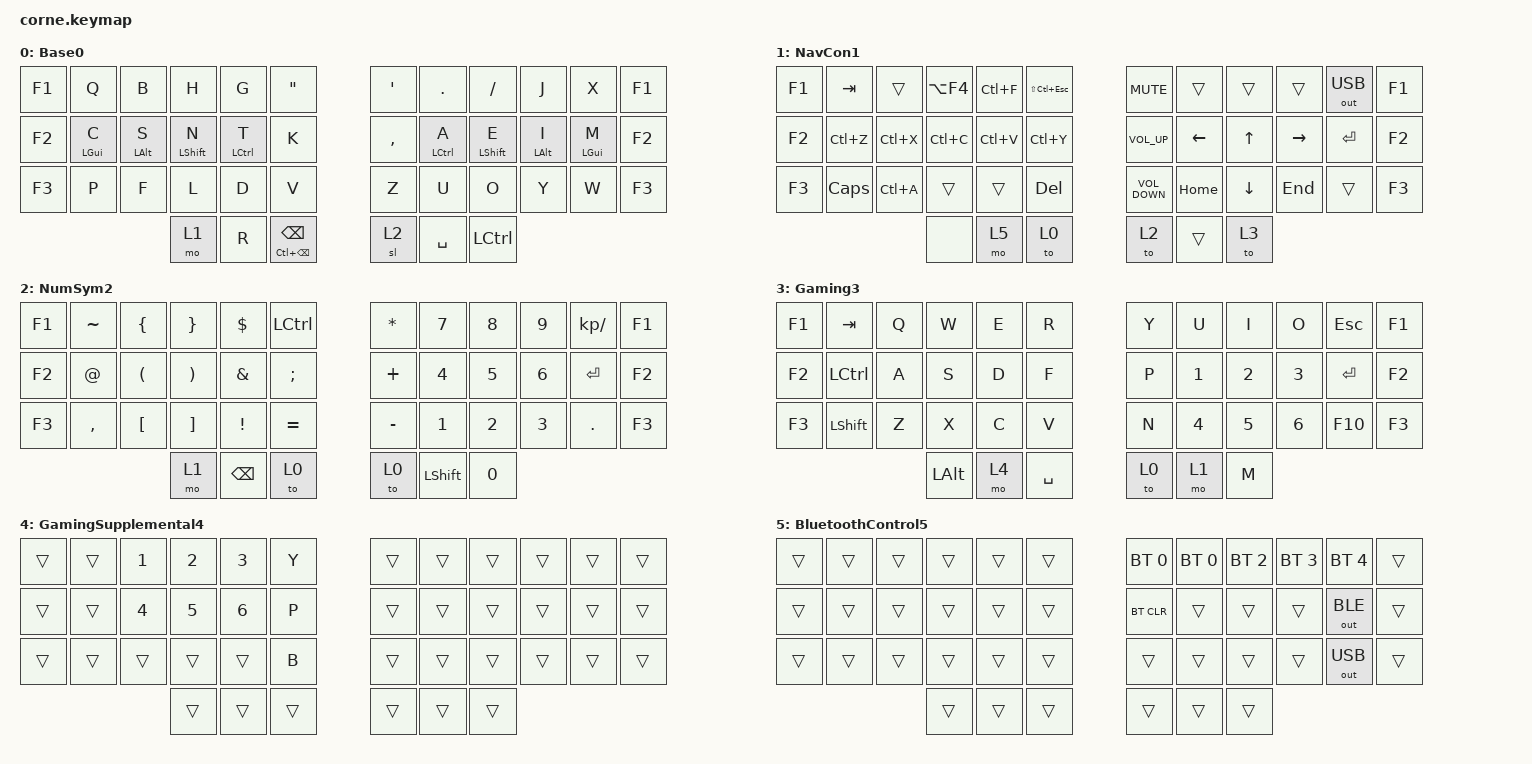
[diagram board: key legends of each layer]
/*
 * Copyright (c) 2020 The ZMK Contributors
 *
 * SPDX-License-Identifier: MIT
 */

#include <behaviors.dtsi>
#include <dt-bindings/zmk/bt.h>
#include <dt-bindings/zmk/keys.h>
#include <dt-bindings/zmk/outputs.h>

&mt {
    flavor = "tap-preferred";
    tapping-term-ms = <180>;
};

/ {
    combos { compatible = "zmk,combos"; };

    keymap {
        compatible = "zmk,keymap";

        Base0 {
            // -----------------------------------------------------------------------------------------
            // |  TAB |  Q  |  W  |  E  |  R  |  T  |   |  Y  |  U   |  I  |  O  |  P  | BSPC |
            // | CTRL |  A  |  S  |  D  |  F  |  G  |   |  H  |  J   |  K  |  L  |  ;  |  '   |
            // | SHFT |  Z  |  X  |  C  |  V  |  B  |   |  N  |  M   |  ,  |  .  |  /  | ESC  |
            //                    | GUI | LWR | SPC |   | ENT | RSE  | ALT |

            bindings = <
&kp F1  &kp Q           &kp B           &kp H             &kp G        &kp DOUBLE_QUOTES              &kp SQT    &kp PERIOD   &kp SLASH         &kp J           &kp X           &kp F1
&kp F2  &mt LEFT_GUI C  &mt LEFT_ALT S  &mt LEFT_SHIFT N  &mt LCTRL T  &kp K                          &kp COMMA  &mt LCTRL A  &mt LEFT_SHIFT E  &mt LEFT_ALT I  &mt LEFT_GUI M  &kp F2
&kp F3  &kp P           &kp F           &kp L             &kp D        &kp V                          &kp Z      &kp U        &kp O             &kp Y           &kp W           &kp F3
                                        &mo 1             &kp R        &mt LC(BACKSPACE) BACKSPACE    &sl 2      &kp SPACE    &kp LCTRL
            >;
        };

        NavCon1 {
            // -----------------------------------------------------------------------------------------
            // |  TAB |  1  |  2  |  3  |  4  |  5  |   |  6  |  7  |  8  |  9  |  0  | BSPC |
            // | BTCLR| BT1 | BT2 | BT3 | BT4 | BT5 |   | LFT | DWN |  UP | RGT |     |      |
            // | SHFT |     |     |     |     |     |   |     |     |     |     |     |      |
            //                    | GUI |     | SPC |   | ENT |     | ALT |

            bindings = <
&kp F1  &kp TAB       &trans     &kp LA(F4)  &kp LC(F)  &kp LS(LC(ESCAPE))    &kp C_MUTE         &trans    &trans          &trans           &out OUT_USB  &kp F1
&kp F2  &kp LC(Z)     &kp LC(X)  &kp LC(C)   &kp LC(V)  &kp LC(Y)             &kp K_VOLUME_UP    &kp LEFT  &kp UP_ARROW    &kp RIGHT_ARROW  &kp ENTER     &kp F2
&kp F3  &kp CAPSLOCK  &kp LC(A)  &trans      &trans     &kp DELETE            &kp K_VOLUME_DOWN  &kp HOME  &kp DOWN_ARROW  &kp END          &trans        &kp F3
                                 &none       &mo 5      &to 0                 &to 2              &trans    &to 3
            >;
        };

        NumSym2 {
            // -----------------------------------------------------------------------------------------
            // |  TAB |  !  |  @  |  #  |  $  |  %  |   |  ^  |  &  |  *  |  (  |  )  | BSPC |
            // | CTRL |     |     |     |     |     |   |  -  |  =  |  [  |  ]  |  \  |  `   |
            // | SHFT |     |     |     |     |     |   |  _  |  +  |  {  |  }  | "|" |  ~   |
            //                    | GUI |     | SPC |   | ENT |     | ALT |

            bindings = <
&kp F1  &kp TILDE    &kp LEFT_BRACE        &kp RIGHT_BRACE        &kp DLLR       &kp LCTRL    &kp ASTERISK  &kp N7          &kp N8  &kp N9        &kp KP_DIVIDE  &kp F1
&kp F2  &kp AT_SIGN  &kp LEFT_PARENTHESIS  &kp RIGHT_PARENTHESIS  &kp AMPERSAND  &kp SEMI     &kp PLUS      &kp N4          &kp N5  &kp NUMBER_6  &kp ENTER      &kp F2
&kp F3  &kp COMMA    &kp LBKT              &kp RBKT               &kp EXCL       &kp EQUAL    &kp MINUS     &kp N1          &kp N2  &kp N3        &kp PERIOD     &kp F3
                                           &mo 1                  &kp BACKSPACE  &to 0        &to 0         &kp LEFT_SHIFT  &kp N0
            >;
        };

        Gaming3 {
            bindings = <
&kp F1  &kp TAB    &kp Q  &kp W         &kp E  &kp R        &kp Y  &kp U   &kp I   &kp O   &kp ESC    &kp F1
&kp F2  &kp LCTRL  &kp A  &kp S         &kp D  &kp F        &kp P  &kp N1  &kp N2  &kp N3  &kp ENTER  &kp F2
&kp F3  &kp LSHFT  &kp Z  &kp X         &kp C  &kp V        &kp N  &kp N4  &kp N5  &kp N6  &kp F10    &kp F3
                          &kp LEFT_ALT  &mo 4  &kp SPACE    &to 0  &mo 1   &kp M
            >;
        };

        GamingSupplemental4 {
            bindings = <
&trans  &trans  &kp N1  &kp N2  &kp N3  &kp Y     &trans  &trans  &trans  &trans  &trans  &trans
&trans  &trans  &kp N4  &kp N5  &kp N6  &kp P     &trans  &trans  &trans  &trans  &trans  &trans
&trans  &trans  &trans  &trans  &trans  &kp B     &trans  &trans  &trans  &trans  &trans  &trans
                        &trans  &trans  &trans    &trans  &trans  &trans
            >;
        };

        BluetoothControl5 {
            bindings = <
&trans  &trans  &trans  &trans  &trans  &trans    &bt BT_SEL 0  &bt BT_SEL 0  &bt BT_SEL 2  &bt BT_SEL 3  &bt BT_SEL 4  &trans
&trans  &trans  &trans  &trans  &trans  &trans    &bt BT_CLR    &trans        &trans        &trans        &out OUT_BLE  &trans
&trans  &trans  &trans  &trans  &trans  &trans    &trans        &trans        &trans        &trans        &out OUT_USB  &trans
                        &trans  &trans  &trans    &trans        &trans        &trans
            >;
        };
    };
};
